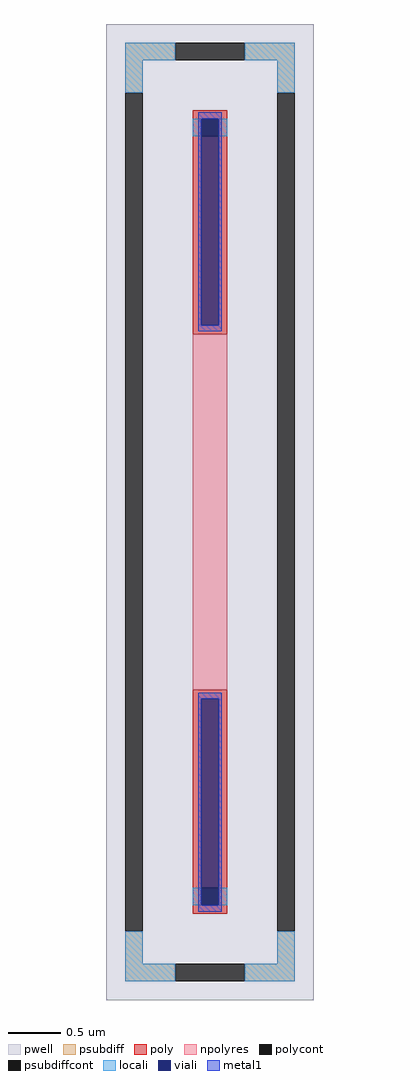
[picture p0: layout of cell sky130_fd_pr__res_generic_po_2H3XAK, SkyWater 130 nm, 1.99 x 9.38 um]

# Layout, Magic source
magic
tech sky130A
magscale 1 2
<< pwell >>
rect -199 -938 199 938
<< psubdiff >>
rect -163 868 -67 902
rect 67 868 163 902
rect -163 806 -129 868
rect 129 806 163 868
rect -163 -868 -129 -806
rect 129 -868 163 -806
rect -163 -902 -67 -868
rect 67 -902 163 -868
<< psubdiffcont >>
rect -67 868 67 902
rect -163 -806 -129 806
rect 129 -806 163 806
rect -67 -902 67 -868
<< poly >>
rect -33 756 33 772
rect -33 722 -17 756
rect 17 722 33 756
rect -33 342 33 722
rect -33 -722 33 -342
rect -33 -756 -17 -722
rect 17 -756 33 -722
rect -33 -772 33 -756
<< polycont >>
rect -17 722 17 756
rect -17 -756 17 -722
<< npolyres >>
rect -33 -342 33 342
<< locali >>
rect -163 868 -67 902
rect 67 868 163 902
rect -163 806 -129 868
rect 129 806 163 868
rect -33 722 -17 756
rect 17 722 33 756
rect -33 -756 -17 -722
rect 17 -756 33 -722
rect -163 -868 -129 -806
rect 129 -868 163 -806
rect -163 -902 -67 -868
rect 67 -902 163 -868
<< viali >>
rect -17 722 17 756
rect -17 359 17 722
rect -17 -722 17 -359
rect -17 -756 17 -722
<< metal1 >>
rect -23 756 23 768
rect -23 359 -17 756
rect 17 359 23 756
rect -23 347 23 359
rect -23 -359 23 -347
rect -23 -756 -17 -359
rect 17 -756 23 -359
rect -23 -768 23 -756
<< properties >>
string FIXED_BBOX -146 -885 146 885
string gencell sky130_fd_pr__res_generic_po
string library sky130
string parameters w 0.33 l 3.423 m 1 nx 1 wmin 0.330 lmin 1.650 rho 48.2 val 499.965 dummy 0 dw 0.0 term 0.0 sterm 0.0 caplen 0.4 snake 0 guard 1 glc 1 grc 1 gtc 1 gbc 1 roverlap 0 endcov 100 full_metal 1 hv_guard 0 n_guard 0 vias 1 viagb 0 viagt 0 viagl 0 viagr 0
<< end >>
